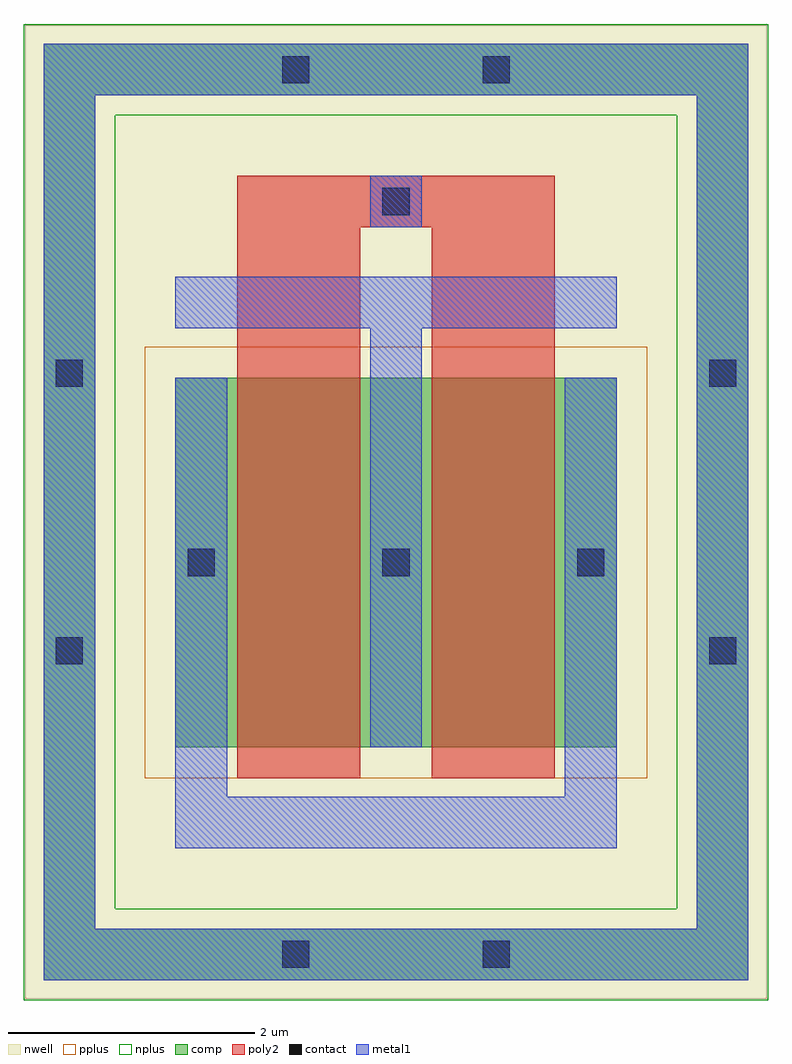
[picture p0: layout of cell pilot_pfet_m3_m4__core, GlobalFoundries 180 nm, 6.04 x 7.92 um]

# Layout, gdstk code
import gdstk
lib = gdstk.Library(unit=1e-6, precision=1e-09)
def R(c, l, rs):  # rectangles x0, y0, x1, y1
    for r in rs: c.add(gdstk.rectangle(r[:2], r[2:], *l))
def A(c, l, x, y, w, h, nx, ny, dx, dy):  # array of equal rectangles
    R(c, l, [(x+i*dx, y+j*dy, x+i*dx+w, y+j*dy+h) for i in range(nx) for j in range(ny)])
def P(c, l, *ps):  # polygons
    for p in ps: c.add(gdstk.Polygon(p, *l))
nwell = (21, 0)
comp = (22, 0)
poly2 = (30, 0)
pplus = (31, 0)
nplus = (32, 0)
contact = (33, 0)
metal1 = (34, 0)

pilot_pfet_m3_m4__core = lib.new_cell('pilot_pfet_m3_m4__core')
R(pilot_pfet_m3_m4__core, nwell, [(-1.22,-1.22,4.8,6.68), (-0.15,-0.15,3.73,5.61)])
R(pilot_pfet_m3_m4__core, comp, [(0,0.82,3.58,3.82)])
P(pilot_pfet_m3_m4__core, comp, [(-1.07,-1.07),(-1.07,6.11),(-0.65,6.11),(-0.65,-0.65),(4.23,-0.65),(4.23,6.11),(-1.07,6.11),(-1.07,6.53),(4.65,6.53),(4.65,-1.07)])
R(pilot_pfet_m3_m4__core, poly2, [(0.5,0.57,1.5,5.04), (2.08,0.57,3.08,5.04), (0.5,5.04,3.08,5.46)])
R(pilot_pfet_m3_m4__core, pplus, [(-0.25,0.57,3.83,4.07)])
P(pilot_pfet_m3_m4__core, nplus, [(-1.23,-1.23),(-1.23,5.95),(-0.49,5.95),(-0.49,-0.49),(4.07,-0.49),(4.07,5.95),(-1.23,5.95),(-1.23,6.69),(4.81,6.69),(4.81,-1.23)])
A(pilot_pfet_m3_m4__core, contact, 0.1, 2.21, 0.22, 0.22, 3, 1, 1.58, 0)
R(pilot_pfet_m3_m4__core, contact, [(0.865,-0.97,1.085,-0.75), (2.495,-0.97,2.715,-0.75), (-0.97,1.495,-0.75,1.715), (4.33,1.495,4.55,1.715), (-0.97,3.745,-0.75,3.965), (4.33,3.745,4.55,3.965), (1.68,5.14,1.9,5.36), (0.865,6.21,1.085,6.43), (2.495,6.21,2.715,6.43)])
A(pilot_pfet_m3_m4__core, metal1, 0, 0.82, 0.42, 3, 3, 1, 1.58, 0)
R(pilot_pfet_m3_m4__core, metal1, [(0,0,3.58,0.42), (0,0.42,0.42,0.82), (3.16,0.42,3.58,0.82), (1.58,3.82,2,4.22), (0,4.22,3.58,4.64), (1.58,5.04,2,5.46)])
P(pilot_pfet_m3_m4__core, metal1, [(-1.07,-1.07),(-1.07,6.11),(-0.65,6.11),(-0.65,-0.65),(4.23,-0.65),(4.23,6.11),(-1.07,6.11),(-1.07,6.53),(4.65,6.53),(4.65,-1.07)])

lib.write_gds('pilot_pfet_m3_m4__core.gds')
